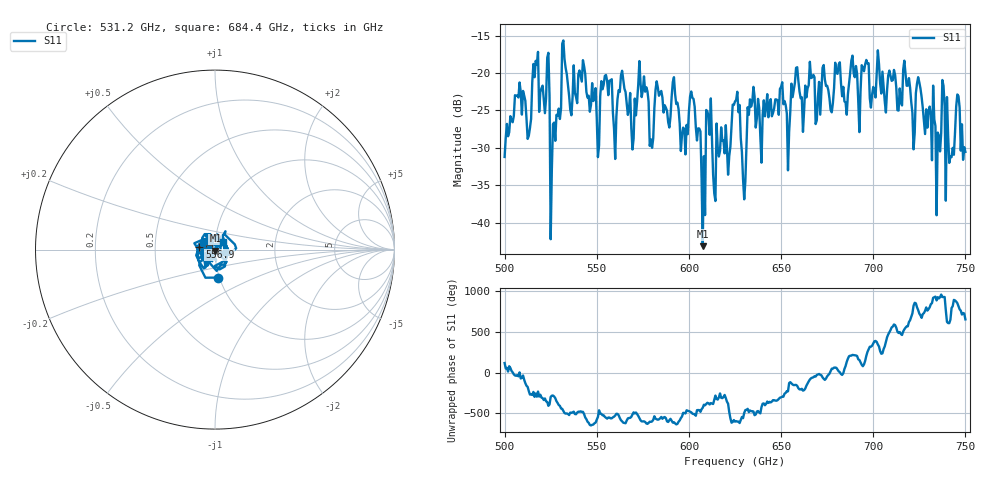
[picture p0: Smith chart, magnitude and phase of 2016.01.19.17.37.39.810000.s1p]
!Created with skrf (http://scikit-rf.org).
# GHz S RI R 50.0
!freq ReS11 ImS11
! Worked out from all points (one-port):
!   401 points, 500 GHz to 750 GHz, reference 50 ohm
!   lowest |S11| = -43.2 dB at 607.5 GHz (marker M1), VSWR 1.01, Z = 50.2 - j0.656 ohm
!   |S11| at or under -10 dB: start of sweep to end of sweep
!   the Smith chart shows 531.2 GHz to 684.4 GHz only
!   S11 on the Smith chart (normalised r, x): 531.2 GHz: 0.99, -0.32; 556.9 GHz: 0.84, +0.03; 684.4 GHz: 1.09, +0.10
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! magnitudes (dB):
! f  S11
! 500 GHz  -31.2
! 506.9 GHz  -23.0
! 513.1 GHz  -28.4
! 516.9 GHz  -18.4
! 523.1 GHz  -17.9
! 526.2 GHz  -26.8
! 531.2 GHz  -16.1
! 550 GHz  -26.1
! 556.9 GHz  -21.0
! 560 GHz  -31.5
! 562.5 GHz  -22.5
! 570 GHz  -28.8
! 574.4 GHz  -23.2
! 580 GHz  -30.0
! 583.1 GHz  -21.9
! 593.8 GHz  -23.9
! 601.9 GHz  -23.3
! 607.5 GHz  -43.2
! 610.6 GHz  -25.8
! 614.4 GHz  -37.1
! 625 GHz  -23.8
! 630 GHz  -36.9
! 634.4 GHz  -23.9
! 656.2 GHz  -23.2
! 684.4 GHz  -23.8
! 687.5 GHz  -19.9
! 718.8 GHz  -21.7
! 750 GHz  -30.5
